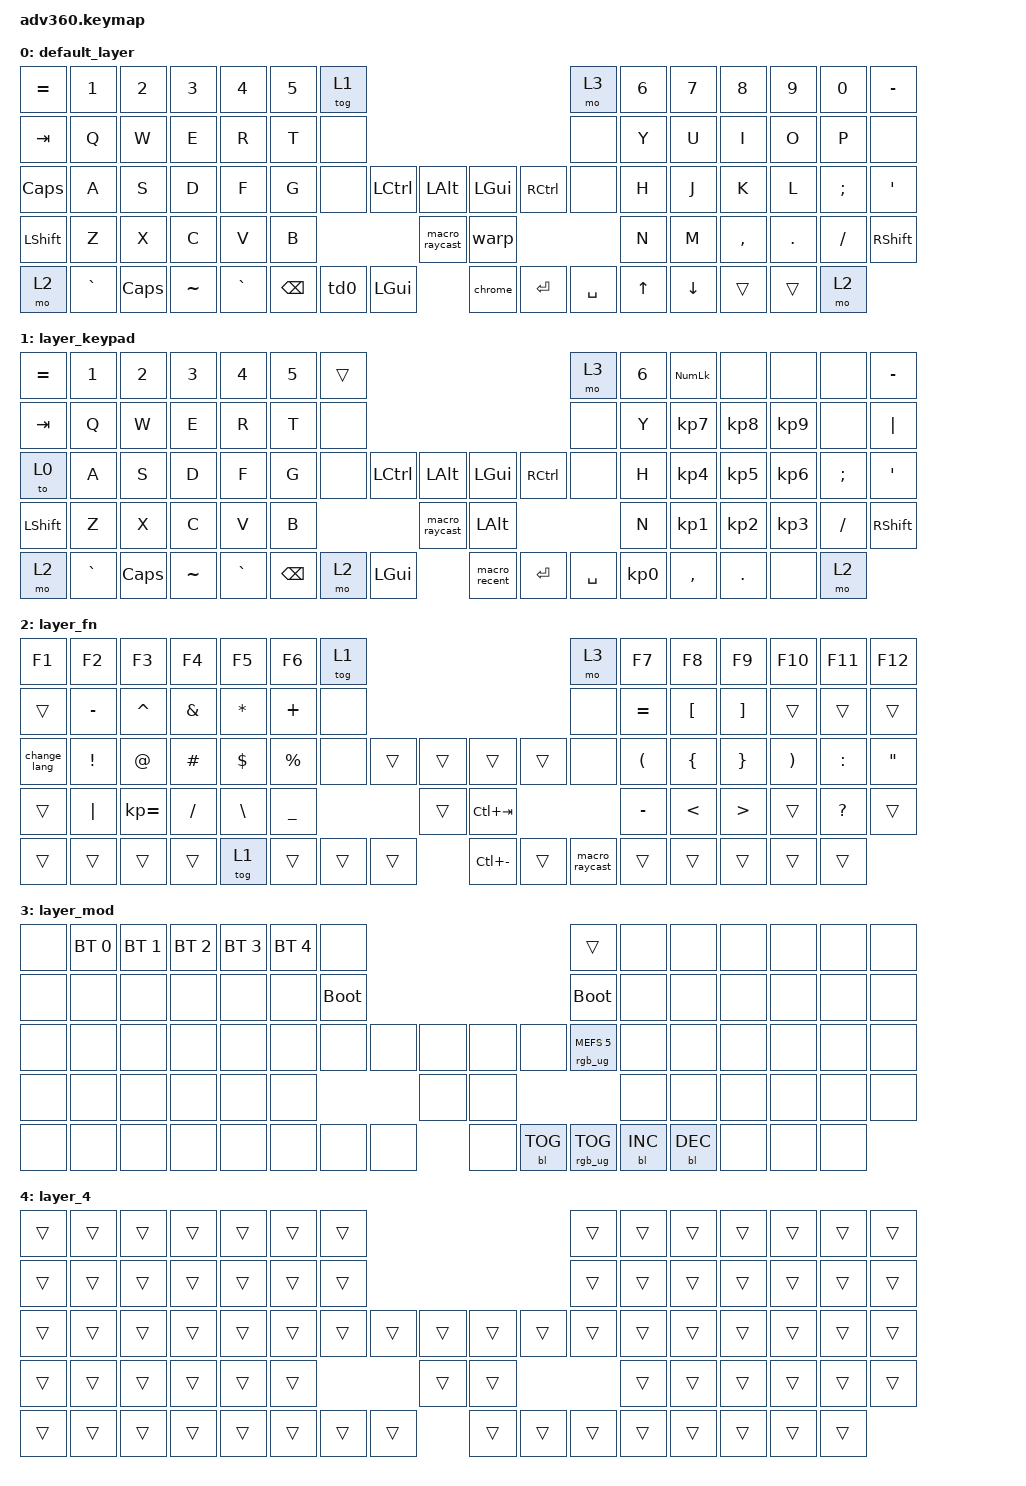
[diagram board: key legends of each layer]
/*
 * Copyright (c) 2020 The ZMK Contributors
 *
 * SPDX-License-Identifier: MIT
 */
/* THIS FILE WAS GENERATED!
 *
 * This file was generated automatically. You may or may not want to
 * edit it directly.
 */

#include <behaviors.dtsi>
#include <dt-bindings/zmk/backlight.h>
#include <dt-bindings/zmk/bt.h>
#include <dt-bindings/zmk/keys.h>
#include <dt-bindings/zmk/rgb.h>

/ {
    behaviors {
        #include "macros.dtsi"
    #include "version.dtsi"

        td0: tap_dance_0 {
            compatible = "zmk,behavior-tap-dance";
            #binding-cells = <0>;
            tapping-term-ms = <400>;
            bindings = <&mo 2>, <&kp LA(MINUS)>;
        };

    };

    macros {
        chrome: chrome {
            compatible = "zmk,behavior-macro";
            #binding-cells = <0>;
            bindings = <&kp LA(PIPE)>;
            label = "CHROME";
        };

        warp: warp {
            compatible = "zmk,behavior-macro";
            #binding-cells = <0>;
            bindings = <&kp LC(PIPE)>;
            label = "WARP";
        };

        change_lang: change_lang {
            compatible = "zmk,behavior-macro";
            #binding-cells = <0>;
            bindings = <&kp LS(LG(SPACE))>;
            label = "CHANGE_LANG";
        };

    };

    keymap {
        compatible = "zmk,keymap";

        default_layer {
            bindings = <
&kp EQUAL  &kp NUMBER_1  &kp NUMBER_2  &kp NUMBER_3  &kp NUMBER_4  &kp N5  &tog 1                                                              &mo 3      &kp NUMBER_6  &kp N7  &kp N8     &kp N9   &kp N0    &kp MINUS
&kp TAB    &kp Q         &kp W         &kp E         &kp R         &kp T   &none                                                               &none      &kp Y         &kp U   &kp I      &kp O    &kp P     &none
&kp CAPS   &kp A         &kp S         &kp D         &kp F         &kp G   &none     &kp LCTRL        &kp LALT            &kp LGUI  &kp RCTRL  &none      &kp H         &kp J   &kp K      &kp L    &kp SEMI  &kp SQT
&kp LSHFT  &kp Z         &kp X         &kp C         &kp V         &kp B                              &macro_raycast      &warp                           &kp N         &kp M   &kp COMMA  &kp DOT  &kp FSLH  &kp RSHFT
&mo 2      &kp GRAVE     &kp CAPS      &kp TILDE     &kp GRAVE             &kp BSPC  &td0  &kp LEFT_GUI        &chrome   &kp ENTER  &kp SPACE                &kp UP  &kp DOWN   &trans   &trans    &mo 2
            >;
        };

        layer_keypad {
            bindings = <
&kp EQUAL  &kp N1     &kp N2    &kp N3     &kp N4     &kp N5  &trans                                                             &mo 3      &kp N6  &kp KP_NUM  &none            &none      &none     &kp MINUS
&kp TAB    &kp Q      &kp W     &kp E      &kp R      &kp T   &none                                                              &none      &kp Y   &kp KP_N7   &kp KP_NUMBER_8  &kp KP_N9  &none     &kp PIPE
&to 0      &kp A      &kp S     &kp D      &kp F      &kp G   &none     &kp LCTRL  &kp LALT            &kp LGUI       &kp RCTRL  &none      &kp H   &kp KP_N4   &kp KP_N5        &kp KP_N6  &kp SEMI  &kp SQT
&kp LSHFT  &kp Z      &kp X     &kp C      &kp V      &kp B                        &macro_raycast      &kp LALT                             &kp N   &kp KP_N1   &kp KP_N2        &kp KP_N3  &kp FSLH  &kp RSHFT
&mo 2      &kp GRAVE  &kp CAPS  &kp TILDE  &kp GRAVE          &kp BSPC  &mo 2      &kp LEFT_GUI        &macro_recent  &kp ENTER  &kp SPACE          &kp KP_N0   &kp COMMA        &kp DOT    &none     &mo 2
            >;
        };

        layer_fn {
            bindings = <
&kp F1        &kp F2           &kp F3        &kp F4         &kp F5        &kp F6       &tog 1                                             &mo 3           &kp F7                &kp F8            &kp F9             &kp F10                &kp F11       &kp F12
&trans        &kp MINUS        &kp CARET     &kp AMPERSAND  &kp ASTERISK  &kp PLUS     &none                                              &none           &kp EQUAL             &kp LEFT_BRACKET  &kp RIGHT_BRACKET  &trans                 &trans        &trans
&change_lang  &kp EXCLAMATION  &kp AT        &kp HASH       &kp DOLLAR    &kp PERCENT  &none   &trans  &trans      &trans         &trans  &none           &kp LEFT_PARENTHESIS  &kp LBRC          &kp RIGHT_BRACE    &kp RIGHT_PARENTHESIS  &kp COLON     &kp DOUBLE_QUOTES
&trans        &kp PIPE         &kp KP_EQUAL  &kp FSLH       &kp BSLH      &kp UNDER                    &trans      &kp LC(TAB)                            &kp MINUS             &kp LT            &kp GT             &trans                 &kp QUESTION  &trans
&trans        &trans           &trans        &trans         &tog 1                     &trans  &trans  &trans      &kp LC(MINUS)  &trans  &macro_raycast                        &trans            &trans             &trans                 &trans        &trans
            >;
        };

        layer_mod {
            bindings = <
&none  &bt BT_SEL 0  &bt BT_SEL 1  &bt BT_SEL 2  &bt BT_SEL 3  &bt BT_SEL 4  &none                                             &trans                  &none  &none       &none       &none  &none  &none
&none  &none         &none         &none         &none         &none         &bootloader                                       &bootloader             &none  &none       &none       &none  &none  &none
&none  &none         &none         &none         &none         &none         &none        &none  &none      &none  &none       &rgb_ug RGB_MEFS_CMD 5  &none  &none       &none       &none  &none  &none
&none  &none         &none         &none         &none         &none                             &none      &none                                      &none  &none       &none       &none  &none  &none
&none  &none         &none         &none         &none                       &none        &none  &none      &none  &bl BL_TOG  &rgb_ug RGB_TOG                &bl BL_INC  &bl BL_DEC  &none  &none  &none
            >;
        };

        layer_4 {
            bindings = <
&trans  &trans  &trans  &trans  &trans  &trans  &trans                                      &trans  &trans  &trans  &trans  &trans  &trans  &trans
&trans  &trans  &trans  &trans  &trans  &trans  &trans                                      &trans  &trans  &trans  &trans  &trans  &trans  &trans
&trans  &trans  &trans  &trans  &trans  &trans  &trans  &trans  &trans      &trans  &trans  &trans  &trans  &trans  &trans  &trans  &trans  &trans
&trans  &trans  &trans  &trans  &trans  &trans                  &trans      &trans                  &trans  &trans  &trans  &trans  &trans  &trans
&trans  &trans  &trans  &trans  &trans          &trans  &trans  &trans      &trans  &trans  &trans          &trans  &trans  &trans  &trans  &trans
            >;
        };
    };
};

